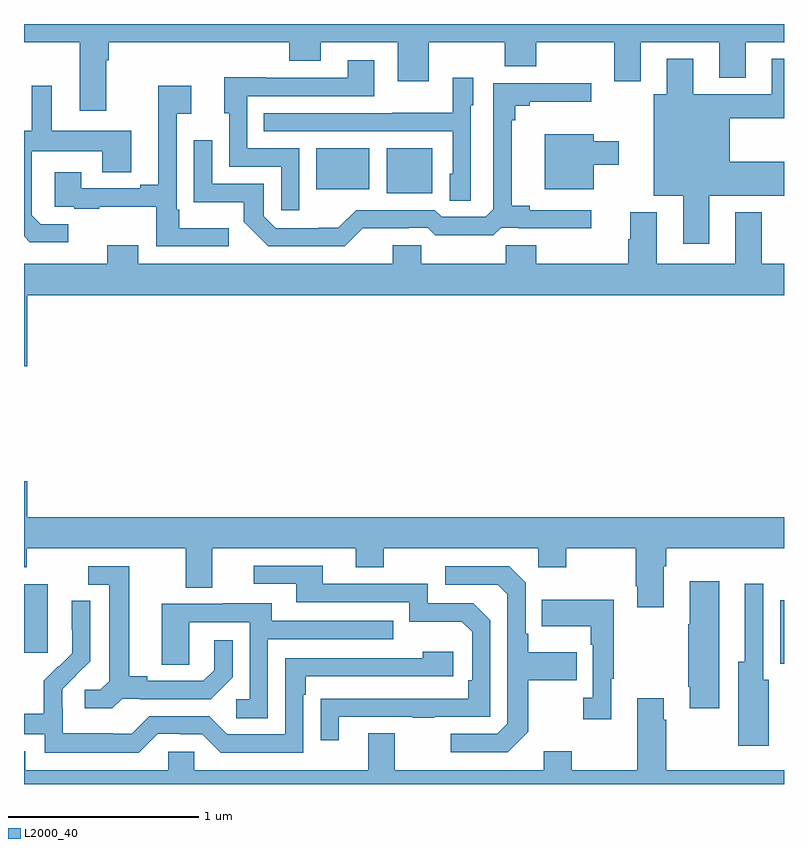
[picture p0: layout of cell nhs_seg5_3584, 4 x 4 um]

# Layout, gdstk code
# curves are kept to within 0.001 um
import gdstk
lib = gdstk.Library(unit=1e-6, precision=1e-09)
def R(c, l, rs):  # rectangles x0, y0, x1, y1
    for r in rs: c.add(gdstk.rectangle(r[:2], r[2:], *l))
def P(c, l, *ps):  # polygons
    for p in ps: c.add(gdstk.Polygon(p, *l))
L2000_40 = (2000, 40)

nhs_seg5_3584 = lib.new_cell('nhs_seg5_3584')
R(nhs_seg5_3584, L2000_40, [(324.981,909.432,325,909.766), (321,909.489,321.124,909.85), (322.91,911.909,323.149,912.145), (322.538,911.93,322.816,912.145)])
P(nhs_seg5_3584, L2000_40, [(324.659,912.515),(324.799,912.515),(324.799,912.704),(325,912.704),(325,912.799),(321,912.799),(321,912.704),(321.293,912.704),(321.293,912.342),(321.433,912.342),(321.433,912.608),(321.446,912.608),(321.446,912.704),(322.397,912.704),(322.397,912.605),(322.561,912.605),(322.561,912.704),(322.967,912.704),(322.967,912.498),(323.131,912.498),(323.131,912.704),(323.531,912.704),(323.531,912.576),(323.695,912.576),(323.695,912.704),(324.107,912.704),(324.107,912.498),(324.247,912.498),(324.247,912.704),(324.659,912.704)],
  [(324.607,911.894),(325,911.894),(325,912.073),(324.715,912.073),(324.715,912.302),(325,912.302),(325,912.616),(324.935,912.616),(324.935,912.43),(324.523,912.43),(324.523,912.616),(324.383,912.616),(324.383,912.43),(324.314,912.43),(324.314,911.894),(324.47,911.894),(324.47,911.643),(324.607,911.643)],
  [(322.449,912.144),(322.176,912.144),(322.176,912.42),(322.843,912.42),(322.843,912.607),(322.703,912.607),(322.703,912.516),(322.273,912.516),(322.273,912.518),(322.055,912.518),(322.055,912.33),(322.08,912.33),(322.08,912.048),(322.353,912.048),(322.353,911.82),(322.449,911.82)],
  [(323.352,912.372),(323.365,912.372),(323.365,912.517),(323.256,912.517),(323.256,912.331),(322.939,912.331),(322.939,912.33),(322.261,912.33),(322.261,912.234),(323.256,912.234),(323.256,912.012),(323.24,912.012),(323.24,911.869),(323.352,911.869)],
  [(322.784,911.723),(323.024,911.723),(323.024,911.727),(323.124,911.727),(323.164,911.688),(323.471,911.688),(323.511,911.727),(323.605,911.727),(323.605,911.723),(323.986,911.723),(323.986,911.82),(323.662,911.82),(323.662,911.843),(323.566,911.843),(323.566,912.293),(323.585,912.293),(323.585,912.37),(323.662,912.37),(323.662,912.389),(323.986,912.389),(323.986,912.486),(323.469,912.486),(323.469,911.823),(323.43,911.784),(323.199,911.784),(323.163,911.82),(322.749,911.82),(322.655,911.726),(322.55,911.726),(322.55,911.724),(322.326,911.724),(322.263,911.787),(322.263,911.958),(321.99,911.958),(321.99,912.187),(321.894,912.187),(321.894,911.861),(322.156,911.861),(322.156,911.759),(322.286,911.628),(322.689,911.628)],
  [(321.232,911.745),(321.087,911.745),(321.04,911.792),(321.04,911.887),(321.042,911.887),(321.042,912.128),(321.413,912.128),(321.413,912.019),(321.565,912.019),(321.565,912.238),(321.145,912.238),(321.145,912.475),(321.041,912.475),(321.041,912.236),(321,912.236),(321,911.682),(321.031,911.651),(321.232,911.651)],
  [(322.078,911.725),(321.817,911.725),(321.817,911.821),(321.804,911.821),(321.804,912.326),(321.88,912.326),(321.88,912.475),(321.707,912.475),(321.707,911.953),(321.611,911.953),(321.611,911.934),(321.301,911.934),(321.301,912.019),(321.161,912.019),(321.161,911.838),(321.265,911.838),(321.265,911.826),(321.397,911.826),(321.397,911.837),(321.696,911.837),(321.696,911.628),(322.078,911.628)],
  [(323.998,912.059),(324.13,912.059),(324.13,912.181),(323.998,912.181),(323.998,912.22),(323.741,912.22),(323.741,911.93),(323.998,911.93)],
  [(321.016,911.372),(325,911.372),(325,911.536),(324.883,911.536),(324.883,911.809),(324.743,911.809),(324.743,911.536),(324.331,911.536),(324.331,911.809),(324.191,911.809),(324.191,911.667),(324.179,911.667),(324.179,911.536),(323.696,911.536),(323.696,911.634),(323.536,911.634),(323.536,911.536),(323.091,911.536),(323.091,911.634),(322.94,911.634),(322.94,911.536),(321.601,911.536),(321.601,911.635),(321.437,911.635),(321.437,911.536),(321,911.536),(321,910.998),(321.016,910.998)],
  [(324.367,909.944),(324.38,909.944),(324.38,910.04),(325,910.04),(325,910.204),(321.016,910.204),(321.016,910.393),(321,910.393),(321,909.941),(321.015,909.941),(321.015,910.04),(321.851,910.04),(321.851,909.832),(321.991,909.832),(321.991,910.04),(322.745,910.04),(322.745,909.941),(322.893,909.941),(322.893,910.04),(323.706,910.04),(323.706,909.941),(323.853,909.941),(323.853,910.04),(324.22,910.04),(324.22,909.841),(324.227,909.841),(324.227,909.729),(324.367,909.729)],
  [(322.657,909.153),(323.047,909.153),(323.047,909.148),(323.159,909.148),(323.159,909.153),(323.454,909.153),(323.454,909.66),(323.364,909.75),(323.124,909.75),(323.124,909.852),(322.573,909.852),(322.573,909.948),(322.209,909.948),(322.209,909.852),(322.433,909.852),(322.433,909.756),(323.028,909.756),(323.028,909.653),(323.305,909.653),(323.358,909.6),(323.358,909.346),(323.338,909.346),(323.338,909.249),(322.561,909.248),(322.561,909.03),(322.657,909.03)],
  [(323.653,909.073),(323.653,909.346),(323.909,909.346),(323.909,909.493),(323.653,909.493),(323.653,909.589),(323.64,909.589),(323.64,909.858),(323.553,909.945),(323.217,909.945),(323.217,909.849),(323.493,909.849),(323.544,909.798),(323.544,909.117),(323.49,909.063),(323.247,909.063),(323.247,908.967),(323.547,908.967)],
  [(321.516,909.249),(321.61,909.249),(321.61,909.246),(321.982,909.246),(322.098,909.362),(322.098,909.556),(322.001,909.556),(322.001,909.399),(321.944,909.342),(321.649,909.342),(321.649,909.365),(321.553,909.365),(321.553,909.945),(321.339,909.945),(321.339,909.849),(321.449,909.849),(321.449,909.341),(321.402,909.294),(321.321,909.294),(321.321,909.197),(321.464,909.197)],
  [(324.658,909.865),(324.503,909.865),(324.503,909.641),(324.496,909.641),(324.496,909.31),(324.503,909.31),(324.503,909.198),(324.658,909.198)],
  [(324.919,909.348),(324.891,909.348),(324.891,909.853),(324.794,909.853),(324.794,909.442),(324.758,909.442),(324.758,909),(324.919,909)],
  [(324.091,909.353),(324.103,909.353),(324.103,909.769),(323.725,909.769),(323.725,909.629),(323.982,909.629),(323.982,909.533),(323.994,909.533),(323.994,909.254),(323.943,909.254),(323.943,909.141),(324.091,909.141)],
  [(321.705,909.063),(321.821,909.063),(321.821,909.06),(321.939,909.06),(322.035,908.964),(322.47,908.964),(322.47,909.269),(322.483,909.269),(322.483,909.366),(323.26,909.366),(323.26,909.496),(323.099,909.496),(323.099,909.462),(322.374,909.462),(322.374,909.06),(322.071,909.06),(321.975,909.156),(321.66,909.156),(321.567,909.063),(321.467,909.063),(321.467,909.067),(321.204,909.067),(321.204,909.201),(321.202,909.201),(321.202,909.298),(321.348,909.446),(321.348,909.764),(321.252,909.764),(321.252,909.61),(321.254,909.61),(321.254,909.488),(321.183,909.417),(321.18,909.42),(321.103,909.343),(321.103,909.169),(321,909.169),(321,909.06),(321.108,909.06),(321.108,908.963),(321.605,908.963)],
  [(322.284,909.561),(322.943,909.561),(322.943,909.657),(322.303,909.657),(322.303,909.751),(322.049,909.751),(322.049,909.747),(321.725,909.747),(321.725,909.427),(321.87,909.427),(321.87,909.651),(322.188,909.651),(322.188,909.246),(322.116,909.246),(322.116,909.145),(322.284,909.145)],
  [(325,908.872),(324.38,908.872),(324.38,909.137),(324.367,909.137),(324.367,909.25),(324.227,909.25),(324.227,908.872),(323.883,908.872),(323.883,908.971),(323.735,908.971),(323.735,908.872),(322.951,908.872),(322.951,909.067),(322.811,909.067),(322.811,908.872),(321.897,908.872),(321.897,908.97),(321.759,908.97),(321.759,908.872),(321.007,908.872),(321.007,908.971),(321,908.971),(321,908.799),(325,908.799)])

lib.write_gds('nhs_seg5_3584.gds')
